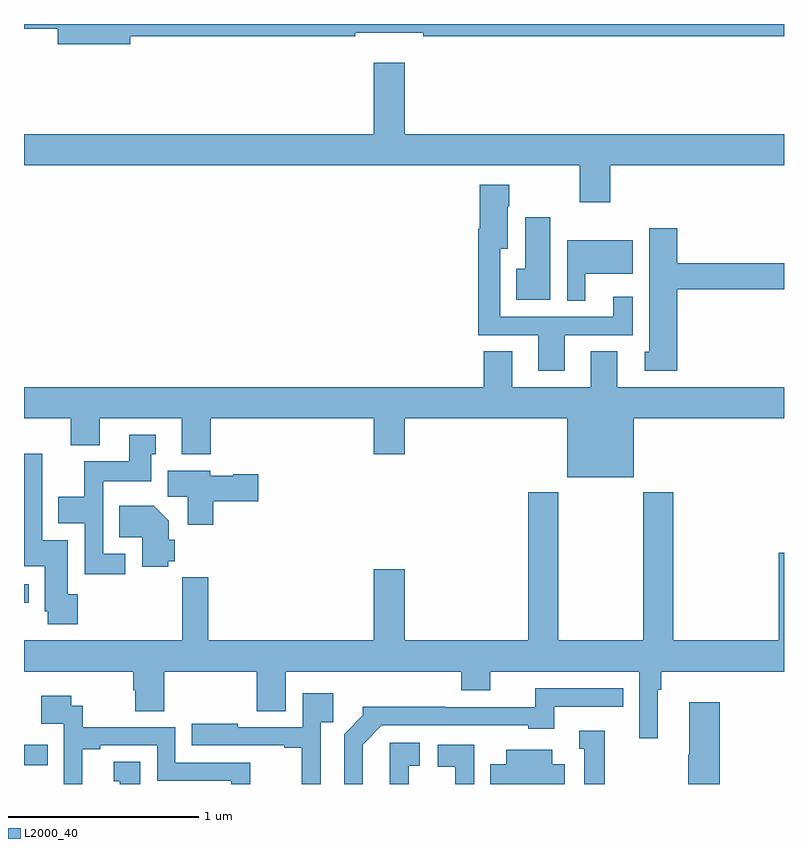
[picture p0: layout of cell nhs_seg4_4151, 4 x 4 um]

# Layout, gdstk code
import gdstk
lib = gdstk.Library(unit=1e-6, precision=1e-09)
def R(c, l, rs):  # rectangles x0, y0, x1, y1
    for r in rs: c.add(gdstk.rectangle(r[:2], r[2:], *l))
def P(c, l, *ps):  # polygons
    for p in ps: c.add(gdstk.Polygon(p, *l))
L2000_40 = (2000, 40)

nhs_seg4_4151 = lib.new_cell('nhs_seg4_4151')
R(nhs_seg4_4151, L2000_40, [(331,790.998,331.124,791.106), (331,791.855,331.024,791.952)])
P(nhs_seg4_4151, L2000_40, [(331.558,794.836),(332.744,794.836),(332.744,794.855),(333.1,794.855),(333.1,794.836),(335,794.836),(335,794.9),(331,794.9),(331,794.875),(331.178,794.875),(331.178,794.794),(331.558,794.794)],
  [(334.085,794.156),(335,794.156),(335,794.32),(333.004,794.32),(333.004,794.695),(332.84,794.695),(332.84,794.32),(331,794.32),(331,794.156),(333.925,794.156),(333.925,793.962),(334.085,793.962)],
  [(333.847,793.263),(334.204,793.263),(334.204,793.465),(334.1,793.465),(334.1,793.359),(333.507,793.359),(333.507,793.718),(333.547,793.718),(333.547,793.94),(333.555,793.94),(333.555,794.053),(333.398,794.053),(333.398,793.822),(333.391,793.822),(333.391,793.263),(333.707,793.263),(333.707,793.074),(333.847,793.074)],
  [(333.769,793.882),(333.638,793.882),(333.638,793.613),(333.592,793.613),(333.592,793.448),(333.769,793.448)],
  [(334.439,793.504),(335,793.504),(335,793.64),(334.439,793.64),(334.439,793.825),(334.292,793.825),(334.292,793.176),(334.268,793.176),(334.268,793.074),(334.439,793.074)],
  [(333.955,793.586),(334.204,793.586),(334.204,793.762),(333.858,793.762),(333.858,793.444),(333.955,793.444)],
  [(334.21,792.824),(335,792.824),(335,792.988),(334.123,792.988),(334.123,793.178),(333.983,793.178),(333.983,792.988),(333.571,792.988),(333.571,793.178),(333.419,793.178),(333.419,792.988),(331,792.988),(331,792.824),(331.247,792.824),(331.247,792.683),(331.399,792.683),(331.399,792.824),(331.829,792.824),(331.829,792.635),(331.982,792.635),(331.982,792.824),(332.84,792.824),(332.84,792.636),(333.004,792.636),(333.004,792.824),(333.86,792.824),(333.86,792.515),(334.21,792.515)],
  [(331.534,792.111),(331.416,792.111),(331.416,792.494),(331.669,792.494),(331.669,792.636),(331.693,792.636),(331.693,792.739),(331.553,792.739),(331.553,792.598),(331.318,792.598),(331.318,792.412),(331.181,792.412),(331.181,792.272),(331.32,792.272),(331.32,792.003),(331.534,792.003)],
  [(331.283,791.898),(331.231,791.898),(331.231,792.184),(331.096,792.184),(331.096,792.637),(331,792.637),(331,792.045),(331.109,792.045),(331.109,791.808),(331.126,791.808),(331.126,791.742),(331.283,791.742)],
  [(331.997,792.389),(332.233,792.389),(332.233,792.531),(332.1,792.531),(332.1,792.523),(331.98,792.523),(331.98,792.55),(331.757,792.55),(331.757,792.412),(331.862,792.412),(331.862,792.264),(331.997,792.264)],
  [(335,792.118),(334.973,792.118),(334.973,791.656),(334.418,791.656),(334.418,792.436),(334.258,792.436),(334.258,791.656),(333.813,791.656),(333.813,792.436),(333.653,792.436),(333.653,791.656),(333.004,791.656),(333.004,792.031),(332.84,792.031),(332.84,791.656),(331.97,791.656),(331.97,791.989),(331.834,791.989),(331.834,791.656),(331,791.656),(331,791.492),(331.574,791.492),(331.574,791.394),(331.586,791.394),(331.586,791.284),(331.739,791.284),(331.739,791.492),(332.225,791.492),(332.225,791.284),(332.377,791.284),(332.377,791.492),(333.302,791.492),(333.302,791.393),(333.454,791.393),(333.454,791.492),(334.239,791.492),(334.239,791.142),(334.336,791.142),(334.336,791.396),(334.355,791.396),(334.355,791.492),(335,791.492)],
  [(331.758,792.072),(331.793,792.072),(331.793,792.186),(331.762,792.186),(331.762,792.286),(331.684,792.364),(331.501,792.364),(331.501,792.2),(331.622,792.2),(331.622,792.043),(331.758,792.043)],
  [(332.782,791.107),(332.883,791.208),(333.654,791.208),(333.654,791.192),(333.79,791.192),(333.79,791.307),(334.154,791.307),(334.154,791.403),(333.691,791.403),(333.691,791.304),(333.218,791.304),(333.218,791.306),(332.784,791.306),(332.784,791.261),(332.685,791.162),(332.685,790.9),(332.782,790.9)],
  [(332.562,791.225),(332.627,791.225),(332.627,791.377),(332.466,791.377),(332.466,791.199),(332.125,791.199),(332.125,791.218),(331.882,791.218),(331.882,791.103),(332.369,791.103),(332.369,791.091),(332.461,791.091),(332.461,790.9),(332.562,790.9)],
  [(331.306,791.083),(331.402,791.083),(331.402,791.103),(331.701,791.103),(331.701,790.917),(332.091,790.917),(332.091,790.9),(332.192,790.9),(332.192,791.013),(331.797,791.013),(331.797,791.199),(331.31,791.199),(331.31,791.313),(331.248,791.313),(331.248,791.365),(331.092,791.365),(331.092,791.217),(331.209,791.217),(331.209,790.913),(331.208,790.913),(331.208,790.9),(331.306,790.9)],
  [(334.661,791.329),(334.502,791.329),(334.502,791.054),(334.495,791.054),(334.495,790.9),(334.661,790.9)],
  [(334.057,791.179),(333.923,791.179),(333.923,791.085),(333.948,791.085),(333.948,790.9),(334.057,790.9)],
  [(333.024,790.995),(333.082,790.995),(333.082,791.116),(332.924,791.116),(332.924,790.9),(333.024,790.9)],
  [(333.369,791.106),(333.177,791.106),(333.177,790.99),(333.271,790.99),(333.271,790.9),(333.369,790.9)],
  [(333.847,791.005),(333.781,791.005),(333.781,791.08),(333.539,791.08),(333.539,791.005),(333.454,791.005),(333.454,790.9),(333.847,790.9)],
  [(331.612,791.018),(331.472,791.018),(331.472,790.915),(331.505,790.915),(331.505,790.9),(331.612,790.9)])

lib.write_gds('nhs_seg4_4151.gds')
